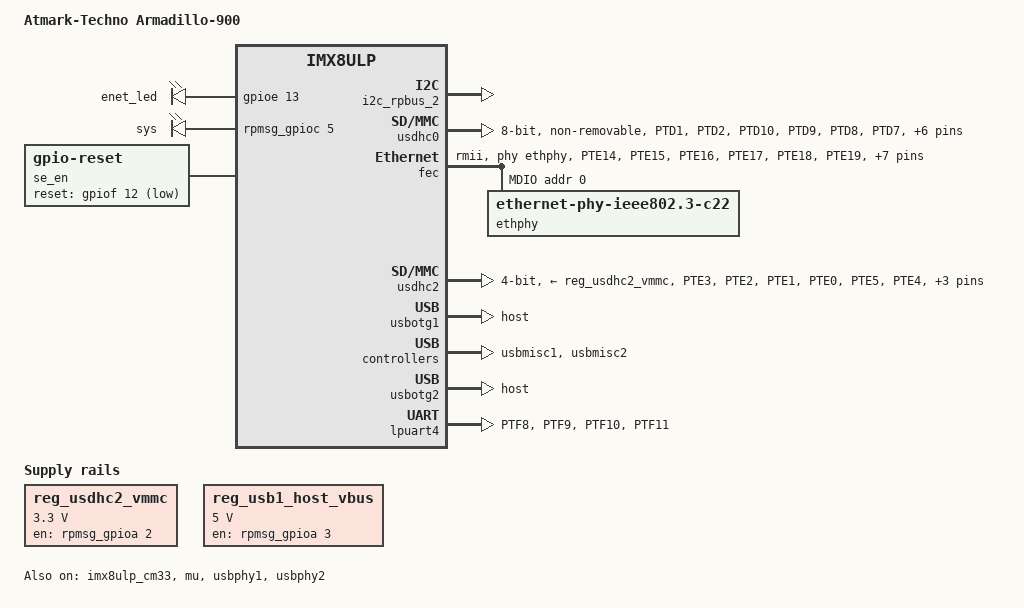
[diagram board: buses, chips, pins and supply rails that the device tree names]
// SPDX-License-Identifier: (GPL-2.0 OR MIT)
/*
 * Copyright (C) 2024 Atmark Techno, Inc. All Rights Reserved.
 */

/dts-v1/;

#include "imx8ulp.dtsi"
#include "imx8ulp-rpmsg.dtsi"
#include <dt-bindings/input/input.h>
#include <dt-bindings/leds/common.h>

/ {
	model = "Atmark-Techno Armadillo-900";
	compatible = "atmark,armadillo-900", "fsl,imx8ulp";

	chosen {
		stdout-path = &lpuart4;
	};

	reserved-memory {
		#address-cells = <2>;
		#size-cells = <2>;
		ranges;

		linux,cma {
			compatible = "shared-dma-pool";
			reusable;
			size = <0 0x28000000>;
			linux,cma-default;
		};

		rsc_table: rsc_table@1fff8000{
			reg = <0 0x1fff8000 0 0x1000>;
			no-map;
		};

		vdev0vring0: vdev0vring0@aff00000 {
			reg = <0 0xaff00000 0 0x8000>;
			no-map;
		};

		vdev0vring1: vdev0vring1@aff08000 {
			reg = <0 0xaff08000 0 0x8000>;
			no-map;
		};

		vdev1vring0: vdev1vring0@aff10000 {
			reg = <0 0xaff10000 0 0x8000>;
			no-map;
		};

		vdev1vring1: vdev1vring1@aff18000 {
			reg = <0 0xaff18000 0 0x8000>;
			no-map;
		};

		ele_reserved: ele-reserved@aff20000 {
			compatible = "shared-dma-pool";
			reg = <0 0xaff20000 0 0x10000>;
			no-map;
		};

		vdevbuffer: vdevbuffer@a8400000 {
			compatible = "shared-dma-pool";
			reg = <0 0xa8400000 0 0x100000>;
			no-map;
		};
	};

	leds {
		compatible = "gpio-leds";

		enet_led {
			label = "enet_led";
			gpios = <&gpioe 13 GPIO_ACTIVE_HIGH>;
			linux,default-trigger = "29950000.ethernet-1:00:100Mbps";
		};

		c5_led {
			label = "sys";
			gpios = <&rpmsg_gpioc 5 GPIO_ACTIVE_HIGH>;
			linux,default-trigger = "default-on";
		};
	};

	// secure element
	se_en: se-enable {
		compatible = "gpio-reset";
		pinctrl-names = "default";
		pinctrl-0 = <&pinctrl_se_enable>;
		reset-gpios = <&gpiof 12 GPIO_ACTIVE_LOW>;
		reset-assert-in-suspend;
	};

	reg_usdhc2_vmmc: regulator-usdhc2 {
		compatible = "regulator-fixed";
		regulator-name = "VSD_3V3";
		regulator-min-microvolt = <3300000>;
		regulator-max-microvolt = <3300000>;
		gpio = <&rpmsg_gpioa 2 GPIO_ACTIVE_HIGH>;
		enable-active-high;
		off-on-delay-us = <400000>;
	};

	reg_usb1_host_vbus: regulator-usb1-vbus {
		compatible = "regulator-fixed";
		regulator-name = "usb1_host_vbus";
		regulator-min-microvolt = <5000000>;
		regulator-max-microvolt = <5000000>;
		gpio = <&rpmsg_gpioa 3 GPIO_ACTIVE_HIGH>;
		enable-active-high;
		regulator-always-on;
	};
};

// secure element
&i2c_rpbus_2 {
	#address-cells = <1>;
	#size-cells = <0>;
	status = "okay";
};


&imx8ulp_cm33 {
	ipc-only;
	rsc-da=<0x1fff8000>;
	mbox-names = "tx", "rx", "rxdb";
	mboxes = <&mu 0 1
			&mu 1 1
			&mu 3 1>;
	memory-region = <&vdevbuffer>, <&vdev0vring0>, <&vdev0vring1>,
			<&vdev1vring0>, <&vdev1vring1>, <&rsc_table>;
	status = "okay";
};

&mu {
	status = "okay";
};

// emmc
&usdhc0 {
	pinctrl-names = "default", "state_100mhz", "state_200mhz", "sleep";
	pinctrl-0 = <&pinctrl_usdhc0>;
	pinctrl-1 = <&pinctrl_usdhc0>;
	pinctrl-2 = <&pinctrl_usdhc0>;
	pinctrl-3 = <&pinctrl_usdhc0>;
	non-removable;
	bus-width = <8>;
	status = "okay";
};

//ethernet PHY
&fec {
	pinctrl-names = "default", "sleep";
	pinctrl-0 = <&pinctrl_enet>;
	pinctrl-1 = <&pinctrl_enet>;
	phy-mode = "rmii";
	phy-handle = <&ethphy>;
	status = "okay";
	phy-reset-gpios = <&gpiof 13 GPIO_ACTIVE_LOW>;
	mdio {
		#address-cells = <1>;
		#size-cells = <0>;

		ethphy: ethernet-phy {
			compatible = "ethernet-phy-ieee802.3-c22";
			reg = <0>;

			ti,dac-cfg-0 = <0x0c40>;
			ti,dac-cfg-1 = <0x000f>;
		};
	};
};

// comm with ELE, used by fuse
&ele_fw2 {
	memory-region = <&ele_reserved>;
};

// SD card
&usdhc2 {
	pinctrl-names = "default", "state_100mhz", "state_200mhz", "sleep";
	pinctrl-0 = <&pinctrl_usdhc2>, <&pinctrl_usdhc2_gpio>;
	pinctrl-1 = <&pinctrl_usdhc2>, <&pinctrl_usdhc2_gpio>;
	pinctrl-2 = <&pinctrl_usdhc2>, <&pinctrl_usdhc2_gpio>;
	pinctrl-3 = <&pinctrl_usdhc2>, <&pinctrl_usdhc2_gpio>;
	cd-gpios = <&gpiof 28 GPIO_ACTIVE_LOW>;
	vmmc-supply = <&reg_usdhc2_vmmc>;
	bus-width = <4>;
	status = "okay";
};

// USB
&usbotg1 {
	dr_mode = "host";
	status = "okay";
};

&usbmisc1 {
	status = "okay";
};

&usbphy1 {
	status = "okay";
};

&usbotg2 {
	dr_mode = "host";
	status = "okay";
};

&usbphy2 {
	status = "okay";
};

&usbmisc2 {
	status = "okay";
};

// USB serial
&lpuart4 {
	pinctrl-names = "default", "sleep";
	pinctrl-0 = <&pinctrl_lpuart4>;
	pinctrl-1 = <&pinctrl_lpuart4sleep>;
	status = "okay";
};

&gpioc_iomuxc {
	leds {
		imx-rpmsg,pins = <
			IOMUXC_PTC5_PTC5 0x20000 /* OBE(1) */
		>;
	};
};

&iomuxc1 {
	pinctrl-names = "default";
	pinctrl-0 = <&pinctrl_customize>;

	/* pinctrl memo
	 * 0x7c00000 deglitch window
	 * 0x200000 digital filter clock select (0=PCTL*, 1=RTC 1kHz)
	 * 0x100000 digital filter
	 * 0x20000 output buffer enable
	 * 0x10000 input buffer enable
	 * 0x40 high drive strength
	 * 0x20 open drain
	 * 0x4 slew rate
	 * 0x2 pull-up enable
	 * 0x1 pull-up selection (0=pull down)
	 */

	pinctrl_customize: customizegrp {
	};

	pinctrl_enet: enetgrp {
		fsl,pins = <
			MX8ULP_PAD_PTE14__ENET0_MDIO	0x3
			MX8ULP_PAD_PTE15__ENET0_MDC		0x3
			MX8ULP_PAD_PTE16__ENET0_TXEN	0x3
			MX8ULP_PAD_PTE17__ENET0_RXER	0x3
			MX8ULP_PAD_PTE18__ENET0_CRS_DV	0x3
			MX8ULP_PAD_PTE19__ENET0_REFCLK	0x3
			MX8ULP_PAD_PTE20__ENET0_RXD1	0x3
			MX8ULP_PAD_PTE21__ENET0_RXD0	0x3
			MX8ULP_PAD_PTE22__ENET0_TXD1	0x3
			MX8ULP_PAD_PTE23__ENET0_TXD0	0x3
			MX8ULP_PAD_PTF13__PTF13			0x3
			MX8ULP_PAD_PTE13__PTE13			0x3
		>;
	};

	pinctrl_usdhc0: usdhc0grp {
		fsl,pins = <
			MX8ULP_PAD_PTD1__SDHC0_CMD	0x3
			MX8ULP_PAD_PTD2__SDHC0_CLK	0x10002
			MX8ULP_PAD_PTD10__SDHC0_D0	0x3
			MX8ULP_PAD_PTD9__SDHC0_D1	0x3
			MX8ULP_PAD_PTD8__SDHC0_D2	0x3
			MX8ULP_PAD_PTD7__SDHC0_D3	0x3
			MX8ULP_PAD_PTD6__SDHC0_D4	0x3
			MX8ULP_PAD_PTD5__SDHC0_D5	0x3
			MX8ULP_PAD_PTD4__SDHC0_D6	0x3
			MX8ULP_PAD_PTD3__SDHC0_D7	0x3
			MX8ULP_PAD_PTD11__SDHC0_DQS	0x10002
			MX8ULP_PAD_PTD0__SDHC0_RESET_B	0x3
		>;
	};

	pinctrl_se_enable: seenablegrp {
		fsl,pins = <
			MX8ULP_PAD_PTF12__PTF12		0x3
		>;
	};

	pinctrl_usdhc2: usdhc2grp {
		fsl,pins = <
			MX8ULP_PAD_PTE3__SDHC2_CMD	0x0
			MX8ULP_PAD_PTE2__SDHC2_CLK	0x10000
			MX8ULP_PAD_PTE1__SDHC2_D0	0x0
			MX8ULP_PAD_PTE0__SDHC2_D1	0x0
			MX8ULP_PAD_PTE5__SDHC2_D2	0x0
			MX8ULP_PAD_PTE4__SDHC2_D3	0x0
			MX8ULP_PAD_PTF29__SDHC2_VS	0x0
		>;
	};

	pinctrl_usdhc2_gpio: usdhc2grp-gpio {
		fsl,pins = <
			MX8ULP_PAD_PTF28__PTF28		0x3
		>;
	};

	pinctrl_lpuart4: lpuart4grp {
		fsl,pins = <
			MX8ULP_PAD_PTF8__LPUART4_CTS_B	0x0
			MX8ULP_PAD_PTF9__LPUART4_RTS_B	0x0
			MX8ULP_PAD_PTF10__LPUART4_TX	0x0
			MX8ULP_PAD_PTF11__LPUART4_RX	0x0
		>;
	};

	pinctrl_lpuart4sleep: lpuart4sleepgrp {
		fsl,pins = <
			MX8ULP_PAD_PTF8__LPUART4_CTS_B	0x0
			MX8ULP_PAD_PTF9__LPUART4_RTS_B	0x0
			MX8ULP_PAD_PTF10__LPUART4_TX	0x0
			MX8ULP_PAD_PTF11__LPUART4_RX	0x0
		>;
	};
};
